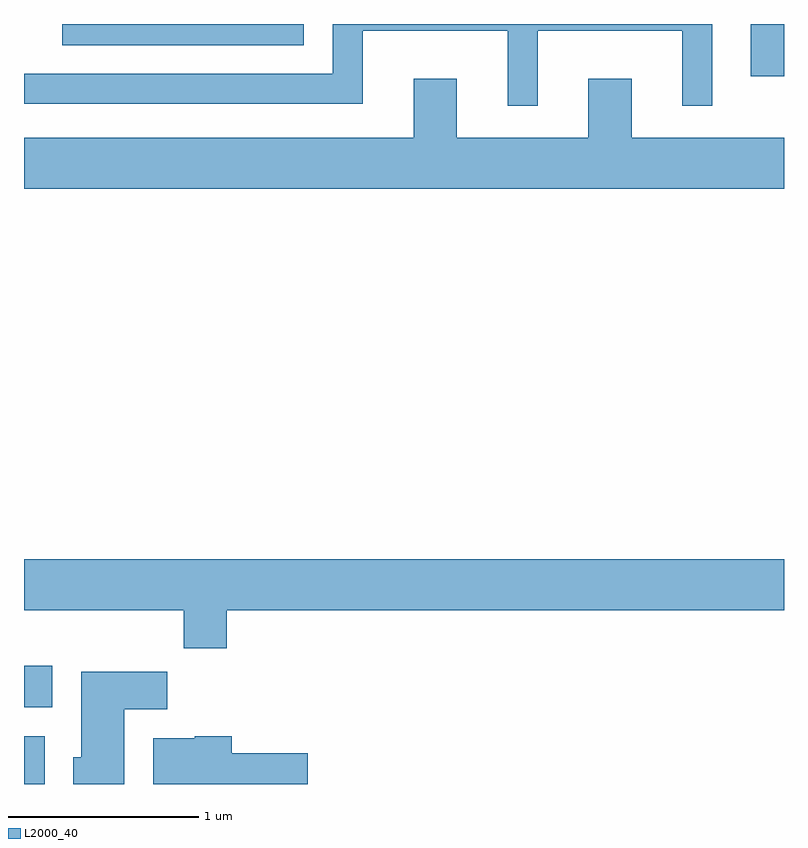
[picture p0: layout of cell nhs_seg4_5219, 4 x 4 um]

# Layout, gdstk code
import gdstk
lib = gdstk.Library(unit=1e-6, precision=1e-09)
def R(c, l, rs):  # rectangles x0, y0, x1, y1
    for r in rs: c.add(gdstk.rectangle(r[:2], r[2:], *l))
def P(c, l, *ps):  # polygons
    for p in ps: c.add(gdstk.Polygon(p, *l))
L2000_40 = (2000, 40)

nhs_seg4_5219 = lib.new_cell('nhs_seg4_5219')
R(nhs_seg4_5219, L2000_40, [(337.611,1355.982,337.719,1356.234), (337.611,1356.386,337.759,1356.604), (341.436,1359.706,341.611,1359.982), (337.813,1359.871,339.084,1359.982)])
P(nhs_seg4_5219, L2000_40, [(340.314,1359.946),(341.076,1359.946),(341.076,1359.553),(341.234,1359.553),(341.234,1359.982),(339.236,1359.982),(339.236,1359.719),(337.611,1359.719),(337.611,1359.561),(339.394,1359.561),(339.394,1359.946),(340.156,1359.946),(340.156,1359.553),(340.314,1359.553)],
  [(341.611,1359.384),(340.809,1359.384),(340.809,1359.694),(340.581,1359.694),(340.581,1359.384),(339.889,1359.384),(339.889,1359.694),(339.661,1359.694),(339.661,1359.384),(337.611,1359.384),(337.611,1359.116),(341.611,1359.116)],
  [(338.679,1356.896),(341.611,1356.896),(341.611,1357.164),(337.611,1357.164),(337.611,1356.896),(338.451,1356.896),(338.451,1356.696),(338.679,1356.696)],
  [(338.139,1356.376),(338.364,1356.376),(338.364,1356.574),(337.911,1356.574),(337.911,1356.124),(337.871,1356.124),(337.871,1355.982),(338.139,1355.982)],
  [(339.104,1356.144),(338.704,1356.144),(338.704,1356.234),(338.51,1356.234),(338.51,1356.224),(338.291,1356.224),(338.291,1355.982),(339.104,1355.982)])

lib.write_gds('nhs_seg4_5219.gds')
